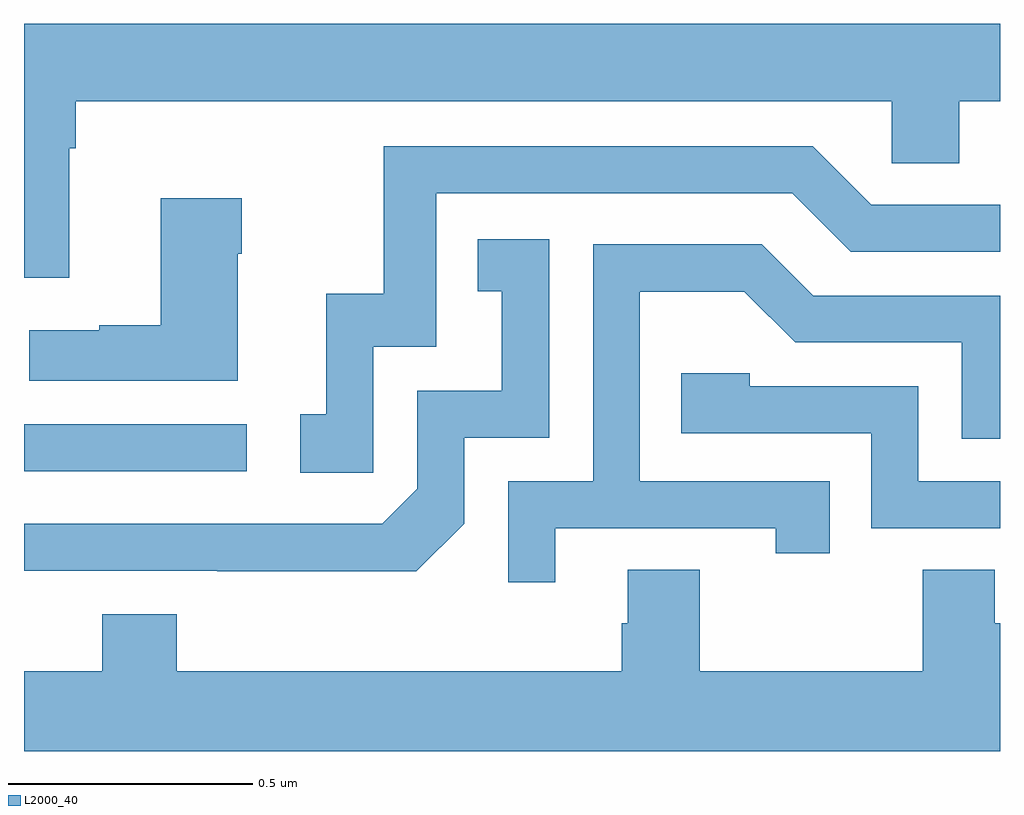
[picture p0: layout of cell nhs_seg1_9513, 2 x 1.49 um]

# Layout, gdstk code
import gdstk
lib = gdstk.Library(unit=1e-6, precision=1e-09)
def R(c, l, rs):  # rectangles x0, y0, x1, y1
    for r in rs: c.add(gdstk.rectangle(r[:2], r[2:], *l))
def P(c, l, *ps):  # polygons
    for p in ps: c.add(gdstk.Polygon(p, *l))
L2000_40 = (2000, 40)

nhs_seg1_9513 = lib.new_cell('nhs_seg1_9513')
R(nhs_seg1_9513, L2000_40, [(229,576.282,229.456,576.378)])
P(nhs_seg1_9513, L2000_40, [(229.093,576.944),(229.106,576.944),(229.106,577.04),(230.778,577.04),(230.778,576.913),(230.917,576.913),(230.917,577.04),(231,577.04),(231,577.199),(229,577.199),(229,576.678),(229.093,576.678)],
  [(229.716,576.537),(229.845,576.537),(229.845,576.852),(230.574,576.852),(230.694,576.732),(231,576.732),(231,576.828),(230.736,576.828),(230.616,576.948),(229.737,576.948),(229.737,576.646),(229.619,576.646),(229.619,576.399),(229.566,576.399),(229.566,576.279),(229.716,576.279)],
  [(229.438,576.728),(229.446,576.728),(229.446,576.841),(229.28,576.841),(229.28,576.581),(229.154,576.581),(229.154,576.571),(229.011,576.571),(229.011,576.467),(229.438,576.467)],
  [(229.902,576.174),(229.902,576.351),(230.076,576.351),(230.076,576.757),(229.93,576.757),(229.93,576.651),(229.979,576.651),(229.979,576.447),(229.806,576.447),(229.806,576.246),(229.734,576.174),(229,576.174),(229,576.078),(229.396,576.078),(229.396,576.077),(229.804,576.077)],
  [(230.089,576.165),(230.54,576.165),(230.54,576.114),(230.651,576.114),(230.651,576.261),(230.262,576.261),(230.262,576.65),(230.476,576.65),(230.58,576.546),(230.922,576.546),(230.922,576.348),(231,576.348),(231,576.642),(230.617,576.642),(230.512,576.747),(230.166,576.747),(230.166,576.261),(229.992,576.261),(229.992,576.054),(230.089,576.054)],
  [(231,576.261),(230.832,576.261),(230.832,576.456),(230.487,576.456),(230.487,576.483),(230.347,576.483),(230.347,576.36),(230.736,576.36),(230.736,576.165),(231,576.165)],
  [(231,575.97),(230.989,575.97),(230.989,576.08),(230.842,576.08),(230.842,575.872),(230.385,575.872),(230.385,576.08),(230.237,576.08),(230.237,575.97),(230.225,575.97),(230.225,575.872),(229.313,575.872),(229.313,575.989),(229.16,575.989),(229.16,575.872),(229,575.872),(229,575.708),(231,575.708)])

lib.write_gds('nhs_seg1_9513.gds')
